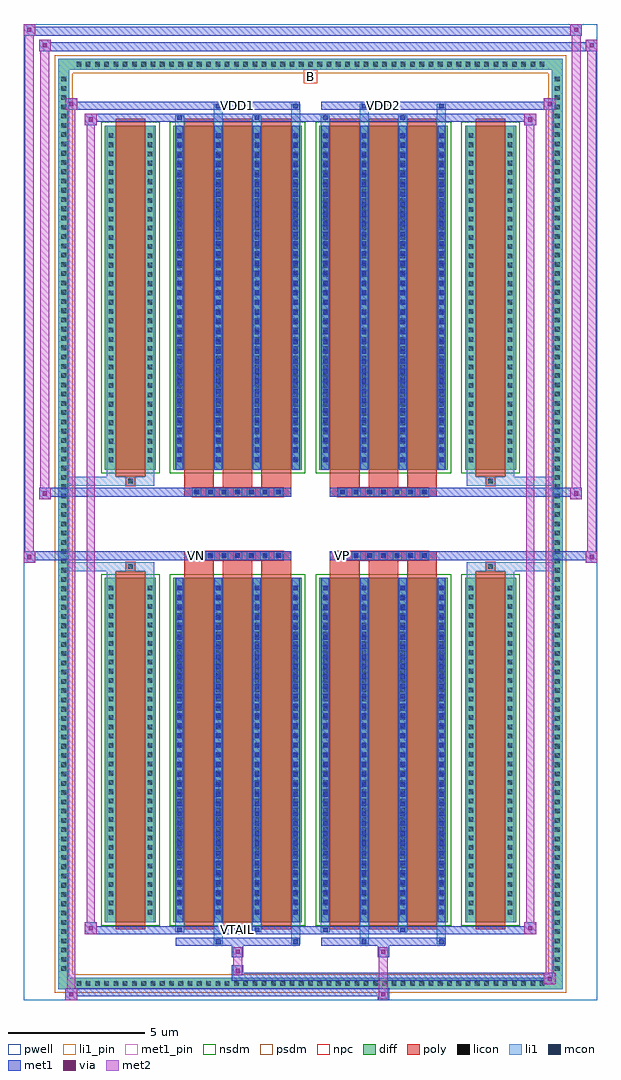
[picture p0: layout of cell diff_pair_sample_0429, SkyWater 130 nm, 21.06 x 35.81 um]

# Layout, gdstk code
import gdstk
lib = gdstk.Library(unit=1e-6, precision=5e-09)
def R(c, l, rs):  # rectangles x0, y0, x1, y1
    for r in rs: c.add(gdstk.rectangle(r[:2], r[2:], *l))
def A(c, l, x, y, w, h, nx, ny, dx, dy):  # array of equal rectangles
    R(c, l, [(x+i*dx, y+j*dy, x+i*dx+w, y+j*dy+h) for i in range(nx) for j in range(ny)])
def P(c, l, *ps):  # polygons
    for p in ps: c.add(gdstk.Polygon(p, *l))
pwell = (64, 44)
diff = (65, 20)
poly = (66, 20)
licon = (66, 44)
li1_pin = (67, 16)
li1 = (67, 20)
mcon = (67, 44)
met1_pin = (68, 16)
met1 = (68, 20)
via = (68, 44)
met2 = (69, 20)
nsdm = (93, 44)
psdm = (94, 20)
npc = (95, 20)

diff_pair_sample_0429 = lib.new_cell('diff_pair_sample_0429')
R(diff_pair_sample_0429, pwell, [(-10.53,-17.47,10.53,18.34), (-7.85,-15.66,-0.01,-0.8), (0.01,-15.66,7.85,-0.8), (-7.85,0.8,-0.01,15.66), (0.01,0.8,7.85,15.66)])
A(diff_pair_sample_0429, diff, -8.705, -17.07, 0.41, 0.41, 51, 2, 0.34, 33.73)
A(diff_pair_sample_0429, diff, -9.26, -16.525, 0.41, 0.41, 1, 97, 0, 0.34)
A(diff_pair_sample_0429, diff, 8.85, -16.525, 0.41, 0.41, 1, 97, 0, 0.34)
R(diff_pair_sample_0429, diff, [(-8.705,-17.07,8.705,-16.66), (-9.26,-16.525,-8.85,16.525), (8.85,-16.525,9.26,16.525), (-7.54,-14.615,-5.67,-1.985), (-5.03,-14.615,-0.32,-1.985), (0.32,-14.615,5.03,-1.985), (5.67,-14.615,7.54,-1.985), (-7.54,1.985,-5.67,14.615), (-5.03,1.985,-0.32,14.615), (0.32,1.985,5.03,14.615), (5.67,1.985,7.54,14.615), (-8.705,16.66,8.705,17.07)])
P(diff_pair_sample_0429, diff, [(9.26,17.07),(-9.26,17.07),(-9.26,-16.66),(-8.85,-16.66),(-8.85,16.66),(8.85,16.66),(8.85,-16.66),(-8.85,-16.66),(-9.26,-16.66),(-9.26,-17.07),(9.26,-17.07)])
A(diff_pair_sample_0429, poly, -4.64, -14.865, 1.09, 13.13, 3, 2, 1.42, 16.6)
A(diff_pair_sample_0429, poly, 0.71, -14.865, 1.09, 13.13, 3, 2, 1.42, 16.6)
A(diff_pair_sample_0429, poly, -4.64, -1.735, 1.09, 0.405, 3, 2, 1.42, 3.065)
A(diff_pair_sample_0429, poly, 0.71, -1.735, 1.09, 0.405, 3, 2, 1.42, 3.065)
A(diff_pair_sample_0429, poly, -4.34, -1.33, 0.33, 0.33, 7, 2, 0.5, 2.33)
A(diff_pair_sample_0429, poly, 1.01, -1.33, 0.33, 0.33, 7, 2, 0.5, 2.33)
R(diff_pair_sample_0429, poly, [(-7.15,-14.865,-6.06,-1.735), (6.06,-14.865,7.15,-1.735), (-6.77,-1.735,-6.44,-1.405), (-6.77,-1.735,-6.44,-1.405), (6.44,-1.735,6.77,-1.405), (6.44,-1.735,6.77,-1.405), (-4.64,-1.33,-0.71,-1), (0.71,-1.33,4.64,-1), (-4.64,1,-0.71,1.33), (0.71,1,4.64,1.33), (-6.77,1.405,-6.44,1.735), (-6.77,1.405,-6.44,1.735), (6.44,1.405,6.77,1.735), (6.44,1.405,6.77,1.735), (-7.15,1.735,-6.06,14.865), (6.06,1.735,7.15,14.865)])
A(diff_pair_sample_0429, licon, -8.585, -16.95, 0.17, 0.17, 51, 2, 0.34, 33.73)
A(diff_pair_sample_0429, licon, -9.14, -16.405, 0.17, 0.17, 1, 97, 0, 0.34)
A(diff_pair_sample_0429, licon, 8.97, -16.405, 0.17, 0.17, 1, 97, 0, 0.34)
A(diff_pair_sample_0429, licon, -7.4, -14.335, 0.17, 0.17, 1, 36, 0, 0.34)
A(diff_pair_sample_0429, licon, -5.98, -14.335, 0.17, 0.17, 1, 36, 0, 0.34)
A(diff_pair_sample_0429, licon, -4.89, -14.335, 0.17, 0.17, 4, 36, 1.42, 0.34)
A(diff_pair_sample_0429, licon, 0.46, -14.335, 0.17, 0.17, 4, 36, 1.42, 0.34)
A(diff_pair_sample_0429, licon, 5.81, -14.335, 0.17, 0.17, 1, 36, 0, 0.34)
A(diff_pair_sample_0429, licon, 7.23, -14.335, 0.17, 0.17, 1, 36, 0, 0.34)
A(diff_pair_sample_0429, licon, -4.26, -1.25, 0.17, 0.17, 7, 2, 0.5, 2.33)
A(diff_pair_sample_0429, licon, 1.09, -1.25, 0.17, 0.17, 7, 2, 0.5, 2.33)
A(diff_pair_sample_0429, licon, -7.4, 2.265, 0.17, 0.17, 1, 36, 0, 0.34)
A(diff_pair_sample_0429, licon, -5.98, 2.265, 0.17, 0.17, 1, 36, 0, 0.34)
A(diff_pair_sample_0429, licon, -4.89, 2.265, 0.17, 0.17, 4, 36, 1.42, 0.34)
A(diff_pair_sample_0429, licon, 0.46, 2.265, 0.17, 0.17, 4, 36, 1.42, 0.34)
A(diff_pair_sample_0429, licon, 5.81, 2.265, 0.17, 0.17, 1, 36, 0, 0.34)
A(diff_pair_sample_0429, licon, 7.23, 2.265, 0.17, 0.17, 1, 36, 0, 0.34)
R(diff_pair_sample_0429, licon, [(-6.69,-1.655,-6.52,-1.485), (6.52,-1.655,6.69,-1.485), (-6.69,1.485,-6.52,1.655), (6.52,1.485,6.69,1.655)])
R(diff_pair_sample_0429, li1_pin, [(-0.25,16.16,0.25,16.66)])
A(diff_pair_sample_0429, li1, -8.665, -17.03, 0.33, 0.33, 51, 2, 0.34, 33.73)
A(diff_pair_sample_0429, li1, -9.22, -16.485, 0.33, 0.33, 1, 97, 0, 0.34)
A(diff_pair_sample_0429, li1, 8.89, -16.485, 0.33, 0.33, 1, 97, 0, 0.34)
A(diff_pair_sample_0429, li1, -4.97, -14.615, 0.33, 12.63, 4, 2, 1.42, 16.6)
A(diff_pair_sample_0429, li1, 0.38, -14.615, 0.33, 12.63, 4, 2, 1.42, 16.6)
A(diff_pair_sample_0429, li1, -7.48, -14.415, 0.33, 0.33, 1, 36, 0, 0.34)
A(diff_pair_sample_0429, li1, -6.06, -14.415, 0.33, 0.33, 1, 36, 0, 0.34)
A(diff_pair_sample_0429, li1, -4.97, -14.415, 0.33, 0.33, 4, 36, 1.42, 0.34)
A(diff_pair_sample_0429, li1, 0.38, -14.415, 0.33, 0.33, 4, 36, 1.42, 0.34)
A(diff_pair_sample_0429, li1, 5.73, -14.415, 0.33, 0.33, 1, 36, 0, 0.34)
A(diff_pair_sample_0429, li1, 7.15, -14.415, 0.33, 0.33, 1, 36, 0, 0.34)
A(diff_pair_sample_0429, li1, -4.89, -14.325, 0.17, 0.17, 4, 34, 1.42, 0.36)
A(diff_pair_sample_0429, li1, -4.89, -14.325, 0.17, 12.05, 4, 2, 1.42, 16.6)
A(diff_pair_sample_0429, li1, 0.46, -14.325, 0.17, 0.17, 4, 34, 1.42, 0.36)
A(diff_pair_sample_0429, li1, 0.46, -14.325, 0.17, 12.05, 4, 2, 1.42, 16.6)
A(diff_pair_sample_0429, li1, -4.34, -1.33, 0.33, 0.33, 7, 2, 0.5, 2.33)
A(diff_pair_sample_0429, li1, 1.01, -1.33, 0.33, 0.33, 7, 2, 0.5, 2.33)
A(diff_pair_sample_0429, li1, -7.48, 2.185, 0.33, 0.33, 1, 36, 0, 0.34)
A(diff_pair_sample_0429, li1, -6.06, 2.185, 0.33, 0.33, 1, 36, 0, 0.34)
A(diff_pair_sample_0429, li1, -4.97, 2.185, 0.33, 0.33, 4, 36, 1.42, 0.34)
A(diff_pair_sample_0429, li1, 0.38, 2.185, 0.33, 0.33, 4, 36, 1.42, 0.34)
A(diff_pair_sample_0429, li1, 5.73, 2.185, 0.33, 0.33, 1, 36, 0, 0.34)
A(diff_pair_sample_0429, li1, 7.15, 2.185, 0.33, 0.33, 1, 36, 0, 0.34)
A(diff_pair_sample_0429, li1, -4.89, 2.275, 0.17, 0.17, 4, 34, 1.42, 0.36)
A(diff_pair_sample_0429, li1, 0.46, 2.275, 0.17, 0.17, 4, 34, 1.42, 0.36)
R(diff_pair_sample_0429, li1, [(-9.26,-17.07,-8.85,-16.66), (-9.26,-17.07,-8.85,-16.66), (-8.85,-17.07,8.85,-16.66), (8.85,-17.07,9.26,-16.66), (8.85,-17.07,9.26,-16.66), (-9.26,-16.66,-8.85,16.66), (8.85,-16.66,9.26,16.66), (-3.55,-15.42,-3.22,-14.615), (-3.47,-15.42,-3.3,-15.25), (-0.71,-15.42,-0.38,-14.615), (-0.63,-15.42,-0.46,-15.25), (1.8,-15.42,2.13,-14.615), (1.88,-15.42,2.05,-15.25), (4.64,-15.42,4.97,-14.615), (4.72,-15.42,4.89,-15.25), (-4.97,-14.99,-4.64,-14.615), (-4.89,-14.99,-4.72,-14.82), (-2.13,-14.99,-1.8,-14.615), (-2.05,-14.99,-1.88,-14.82), (0.38,-14.99,0.71,-14.615), (0.46,-14.99,0.63,-14.82), (3.22,-14.99,3.55,-14.615), (3.3,-14.99,3.47,-14.82), (-7.48,-14.615,-7.15,-1.985), (-6.06,-14.615,-5.73,-1.985), (5.73,-14.615,6.06,-1.985), (7.15,-14.615,7.48,-1.985), (-7.48,-1.985,-7.15,-1.405), (-6.06,-1.985,-5.73,-1.405), (5.73,-1.985,6.06,-1.405), (7.15,-1.985,7.48,-1.405), (-9.26,-1.735,-6.77,-1.405), (-7.48,-1.735,-6.77,-1.405), (-6.77,-1.735,-6.44,-1.405), (-6.44,-1.735,-5.73,-1.405), (5.73,-1.735,6.44,-1.405), (6.44,-1.735,6.77,-1.405), (6.44,-1.735,9.26,-1.405), (6.77,-1.735,7.48,-1.405), (-9.26,1.405,-6.77,1.735), (-7.48,1.405,-6.77,1.735), (-7.48,1.405,-7.15,1.985), (-6.77,1.405,-6.44,1.735), (-6.44,1.405,-5.73,1.735), (-6.06,1.405,-5.73,1.985), (5.73,1.405,6.44,1.735), (5.73,1.405,6.06,1.985), (6.44,1.405,6.77,1.735), (6.44,1.405,9.26,1.735), (6.77,1.405,7.48,1.735), (7.15,1.405,7.48,1.985), (-7.48,1.985,-7.15,14.615), (-6.06,1.985,-5.73,14.615), (5.73,1.985,6.06,14.615), (7.15,1.985,7.48,14.615), (-4.97,14.615,-4.64,14.99), (-3.55,14.615,-3.22,15.42), (-2.13,14.615,-1.8,14.99), (-0.71,14.615,-0.38,15.42), (0.38,14.615,0.71,14.99), (1.8,14.615,2.13,15.42), (3.22,14.615,3.55,14.99), (4.64,14.615,4.97,15.42), (-4.89,14.82,-4.72,14.99), (-2.05,14.82,-1.88,14.99), (0.46,14.82,0.63,14.99), (3.3,14.82,3.47,14.99), (-3.47,15.25,-3.3,15.42), (-0.63,15.25,-0.46,15.42), (1.88,15.25,2.05,15.42), (4.72,15.25,4.89,15.42), (-9.26,16.66,-8.85,17.07), (-9.26,16.66,-8.85,17.07), (-8.85,16.66,8.85,17.07), (8.85,16.66,9.26,17.07), (8.85,16.66,9.26,17.07)])
A(diff_pair_sample_0429, mcon, -4.89, -14.325, 0.17, 0.17, 4, 34, 1.42, 0.36)
A(diff_pair_sample_0429, mcon, 0.46, -14.325, 0.17, 0.17, 4, 34, 1.42, 0.36)
A(diff_pair_sample_0429, mcon, -4.26, -1.25, 0.17, 0.17, 7, 2, 0.5, 2.33)
A(diff_pair_sample_0429, mcon, 1.09, -1.25, 0.17, 0.17, 7, 2, 0.5, 2.33)
A(diff_pair_sample_0429, mcon, -4.89, 2.275, 0.17, 0.17, 4, 34, 1.42, 0.36)
A(diff_pair_sample_0429, mcon, 0.46, 2.275, 0.17, 0.17, 4, 34, 1.42, 0.36)
R(diff_pair_sample_0429, mcon, [(-3.47,-15.42,-3.3,-15.25), (-0.63,-15.42,-0.46,-15.25), (1.88,-15.42,2.05,-15.25), (4.72,-15.42,4.89,-15.25), (-4.89,-14.99,-4.72,-14.82), (-2.05,-14.99,-1.88,-14.82), (0.46,-14.99,0.63,-14.82), (3.3,-14.99,3.47,-14.82), (-4.89,14.82,-4.72,14.99), (-2.05,14.82,-1.88,14.99), (0.46,14.82,0.63,14.99), (3.3,14.82,3.47,14.99), (-3.47,15.25,-3.3,15.42), (-0.63,15.25,-0.46,15.42), (1.88,15.25,2.05,15.42), (4.72,15.25,4.89,15.42)])
R(diff_pair_sample_0429, met1_pin, [(-2.81,-15.03,-2.54,-14.76), (-4.31,-1.29,-4.04,-1.02), (1.04,-1.29,1.31,-1.02), (-2.81,15.21,-2.54,15.48), (2.54,15.21,2.81,15.48)])
A(diff_pair_sample_0429, met1, -4.95, -14.615, 0.29, 12.63, 4, 2, 1.42, 16.6)
A(diff_pair_sample_0429, met1, 0.4, -14.615, 0.29, 12.63, 4, 2, 1.42, 16.6)
A(diff_pair_sample_0429, met1, -4.95, -14.385, 0.29, 0.29, 4, 34, 1.42, 0.36)
A(diff_pair_sample_0429, met1, 0.4, -14.385, 0.29, 0.29, 4, 34, 1.42, 0.36)
A(diff_pair_sample_0429, met1, -4.32, -1.31, 0.29, 0.29, 7, 2, 0.5, 2.33)
A(diff_pair_sample_0429, met1, 1.03, -1.31, 0.29, 0.29, 7, 2, 0.5, 2.33)
A(diff_pair_sample_0429, met1, -4.95, 2.215, 0.29, 0.29, 4, 34, 1.42, 0.36)
A(diff_pair_sample_0429, met1, 0.4, 2.215, 0.29, 0.29, 4, 34, 1.42, 0.36)
R(diff_pair_sample_0429, met1, [(-8.99,-17.47,-8.56,-17.04), (2.46,-17.47,2.89,-17.04), (-8.99,-17.33,2.89,-17.04), (8.56,-16.9,8.99,-16.47), (-2.89,-16.76,8.99,-16.47), (-2.89,-16.62,-2.46,-16.19), (-2.89,-15.91,-2.46,-15.48), (2.46,-15.91,2.89,-15.48), (-4.95,-15.48,-0.4,-15.19), (-3.53,-15.48,-3.24,-15.19), (-0.69,-15.48,-0.4,-15.19), (0.4,-15.48,4.95,-15.19), (1.82,-15.48,2.11,-15.19), (4.66,-15.48,4.95,-15.19), (-8.28,-15.05,-7.85,-14.62), (-8.28,-15.05,-4.95,-14.76), (-4.95,-15.05,-4.66,-14.76), (-4.95,-15.05,-0.4,-14.76), (-2.11,-15.05,-1.82,-14.76), (-0.4,-15.05,0.4,-14.76), (0.4,-15.05,0.69,-14.76), (0.4,-15.05,4.95,-14.76), (3.24,-15.05,3.53,-14.76), (4.95,-15.05,8.28,-14.76), (7.85,-15.05,8.28,-14.62), (-10.53,-1.43,-10.1,-1), (10.1,-1.43,10.53,-1), (-10.53,-1.33,-0.71,-1), (-4.64,-1.33,-0.71,-1), (0.71,-1.33,4.64,-1), (0.71,-1.33,10.53,-1), (-9.96,0.9,-9.53,1.33), (9.53,0.9,9.96,1.33), (-9.96,1,-4.64,1.33), (-4.64,1,-0.71,1.33), (0.71,1,4.64,1.33), (4.64,1,9.96,1.33), (-8.28,14.62,-7.85,15.05), (7.85,14.62,8.28,15.05), (-8.28,14.76,-4.95,15.05), (-4.95,14.76,-4.66,15.05), (-4.95,14.76,-0.4,15.05), (-2.11,14.76,-1.82,15.05), (-0.4,14.76,0.4,15.05), (0.4,14.76,0.69,15.05), (0.4,14.76,4.95,15.05), (3.24,14.76,3.53,15.05), (4.95,14.76,8.28,15.05), (-8.99,15.19,-8.56,15.62), (-8.99,15.19,-4.95,15.48), (-4.95,15.19,-0.4,15.48), (-3.53,15.19,-3.24,15.48), (-0.69,15.19,-0.4,15.48), (0.4,15.19,4.95,15.48), (1.82,15.19,2.11,15.48), (4.66,15.19,4.95,15.48), (4.95,15.19,8.99,15.48), (8.56,15.19,8.99,15.62), (-9.96,17.34,-9.53,17.77), (-9.96,17.34,-7.85,17.67), (-7.85,17.34,7.85,17.67), (7.85,17.34,10.53,17.67), (10.1,17.34,10.53,17.77), (-10.53,17.91,-10.1,18.34), (-10.53,17.91,-7.85,18.24), (-7.85,17.91,7.85,18.24), (7.85,17.91,9.96,18.24), (9.53,17.91,9.96,18.34)])
R(diff_pair_sample_0429, via, [(-8.85,-17.33,-8.7,-17.18), (2.6,-17.33,2.75,-17.18), (8.7,-16.76,8.85,-16.61), (-2.75,-16.48,-2.6,-16.33), (-2.75,-15.77,-2.6,-15.62), (2.6,-15.77,2.75,-15.62), (-8.14,-14.91,-7.99,-14.76), (7.99,-14.91,8.14,-14.76), (-10.39,-1.29,-10.24,-1.14), (10.24,-1.29,10.39,-1.14), (-9.82,1.04,-9.67,1.19), (9.67,1.04,9.82,1.19), (-8.14,14.76,-7.99,14.91), (7.99,14.76,8.14,14.91), (-8.85,15.33,-8.7,15.48), (8.7,15.33,8.85,15.48), (-9.82,17.48,-9.67,17.63), (10.24,17.48,10.39,17.63), (-10.39,18.05,-10.24,18.2), (9.67,18.05,9.82,18.2)])
R(diff_pair_sample_0429, met2, [(-8.99,-17.47,-8.56,-17.04), (-8.92,-17.47,-8.63,15.62), (-8.63,-17.47,-8.56,-17.04), (-8.94,-17.42,-8.61,-17.09), (2.51,-17.42,2.84,-17.09), (2.51,-17.09,2.84,-15.86), (8.56,-16.9,8.99,-16.47), (8.63,-16.9,8.92,15.62), (8.92,-16.9,8.99,-16.47), (8.61,-16.85,8.94,-16.52), (-2.84,-16.57,-2.51,-16.24), (-2.84,-16.24,-2.51,-15.86), (-2.84,-15.86,-2.51,-15.53), (2.51,-15.86,2.84,-15.53), (-8.28,-15.05,-7.85,-14.62), (-8.21,-15.05,-7.92,15.05), (-7.92,-15.05,-7.85,-14.62), (7.85,-15.05,8.28,-14.62), (7.92,-15.05,8.21,15.05), (8.21,-15.05,8.28,-14.62), (-8.23,-15,-7.9,-14.67), (7.9,-15,8.23,-14.67), (-10.53,-1.43,-10.1,-1), (-10.48,-1.43,-10.15,18.34), (-10.15,-1.43,-10.1,-1), (10.1,-1.43,10.53,-1), (10.15,-1.43,10.48,17.77), (10.48,-1.43,10.53,-1), (-10.48,-1.38,-10.15,-1.05), (10.15,-1.38,10.48,-1.05), (-9.96,0.9,-9.53,1.33), (-9.91,0.9,-9.58,17.77), (-9.58,0.9,-9.53,1.33), (9.53,0.9,9.96,1.33), (9.58,0.9,9.91,18.34), (9.91,0.9,9.96,1.33), (-9.91,0.95,-9.58,1.28), (9.58,0.95,9.91,1.28), (-8.28,14.62,-7.85,15.05), (-7.92,14.62,-7.85,15.05), (7.85,14.62,8.28,15.05), (8.21,14.62,8.28,15.05), (-8.23,14.67,-7.9,15), (7.9,14.67,8.23,15), (-8.99,15.19,-8.56,15.62), (-8.63,15.19,-8.56,15.62), (8.56,15.19,8.99,15.62), (8.92,15.19,8.99,15.62), (-8.94,15.24,-8.61,15.57), (8.61,15.24,8.94,15.57), (-9.96,17.34,-9.53,17.77), (-9.58,17.34,-9.53,17.77), (10.1,17.34,10.53,17.77), (10.48,17.34,10.53,17.77), (-9.91,17.39,-9.58,17.72), (10.15,17.39,10.48,17.72), (-10.53,17.91,-10.1,18.34), (-10.15,17.91,-10.1,18.34), (9.53,17.91,9.96,18.34), (9.91,17.91,9.96,18.34), (-10.48,17.96,-10.15,18.29), (9.58,17.96,9.91,18.29)])
R(diff_pair_sample_0429, nsdm, [(-7.67,-14.745,-5.54,-1.855), (-5.16,-14.745,-0.19,-1.855), (0.19,-14.745,5.16,-1.855), (5.54,-14.745,7.67,-1.855), (-7.67,1.855,-5.54,14.745), (-5.16,1.855,-0.19,14.745), (0.19,1.855,5.16,14.745), (5.54,1.855,7.67,14.745)])
P(diff_pair_sample_0429, psdm, [(9.39,17.2),(-9.39,17.2),(-9.39,-16.53),(-8.72,-16.53),(-8.72,16.53),(8.72,16.53),(8.72,-16.53),(-8.72,-16.53),(-9.39,-16.53),(-9.39,-17.2),(9.39,-17.2)])
A(diff_pair_sample_0429, npc, -4.36, -1.35, 0.37, 0.37, 7, 2, 0.5, 2.33)
A(diff_pair_sample_0429, npc, 0.99, -1.35, 0.37, 0.37, 7, 2, 0.5, 2.33)
R(diff_pair_sample_0429, npc, [(-6.79,-1.755,-6.42,-1.385), (6.42,-1.755,6.79,-1.385), (-4.36,-1.35,-3.49,-0.98), (-4.36,-1.35,-3.49,-0.98), (-3.86,-1.35,-2.99,-0.98), (-3.86,-1.35,-2.99,-0.98), (-3.36,-1.35,-2.49,-0.98), (-3.36,-1.35,-2.49,-0.98), (-2.86,-1.35,-1.99,-0.98), (-2.86,-1.35,-1.99,-0.98), (-2.36,-1.35,-1.49,-0.98), (-2.36,-1.35,-1.49,-0.98), (-1.86,-1.35,-0.99,-0.98), (-1.86,-1.35,-0.99,-0.98), (0.99,-1.35,1.86,-0.98), (0.99,-1.35,1.86,-0.98), (1.49,-1.35,2.36,-0.98), (1.49,-1.35,2.36,-0.98), (1.99,-1.35,2.86,-0.98), (1.99,-1.35,2.86,-0.98), (2.49,-1.35,3.36,-0.98), (2.49,-1.35,3.36,-0.98), (2.99,-1.35,3.86,-0.98), (2.99,-1.35,3.86,-0.98), (3.49,-1.35,4.36,-0.98), (3.49,-1.35,4.36,-0.98), (-4.36,0.98,-3.49,1.35), (-4.36,0.98,-3.49,1.35), (-3.86,0.98,-2.99,1.35), (-3.86,0.98,-2.99,1.35), (-3.36,0.98,-2.49,1.35), (-3.36,0.98,-2.49,1.35), (-2.86,0.98,-1.99,1.35), (-2.86,0.98,-1.99,1.35), (-2.36,0.98,-1.49,1.35), (-2.36,0.98,-1.49,1.35), (-1.86,0.98,-0.99,1.35), (-1.86,0.98,-0.99,1.35), (0.99,0.98,1.86,1.35), (0.99,0.98,1.86,1.35), (1.49,0.98,2.36,1.35), (1.49,0.98,2.36,1.35), (1.99,0.98,2.86,1.35), (1.99,0.98,2.86,1.35), (2.49,0.98,3.36,1.35), (2.49,0.98,3.36,1.35), (2.99,0.98,3.86,1.35), (2.99,0.98,3.86,1.35), (3.49,0.98,4.36,1.35), (3.49,0.98,4.36,1.35), (-6.79,1.385,-6.42,1.755), (6.42,1.385,6.79,1.755)])
diff_pair_sample_0429.add(gdstk.Label('VTAIL', (-2.675,-14.895), layer=68, texttype=5))
diff_pair_sample_0429.add(gdstk.Label('VN', (-4.175,-1.155), layer=68, texttype=5))
diff_pair_sample_0429.add(gdstk.Label('VP', (1.175,-1.155), layer=68, texttype=5))
diff_pair_sample_0429.add(gdstk.Label('B', (0,16.41), layer=67, texttype=5))
diff_pair_sample_0429.add(gdstk.Label('VDD2', (2.675,15.345), layer=68, texttype=5))
diff_pair_sample_0429.add(gdstk.Label('VDD1', (-2.675,15.345), layer=68, texttype=5))

lib.write_gds('diff_pair_sample_0429.gds')
